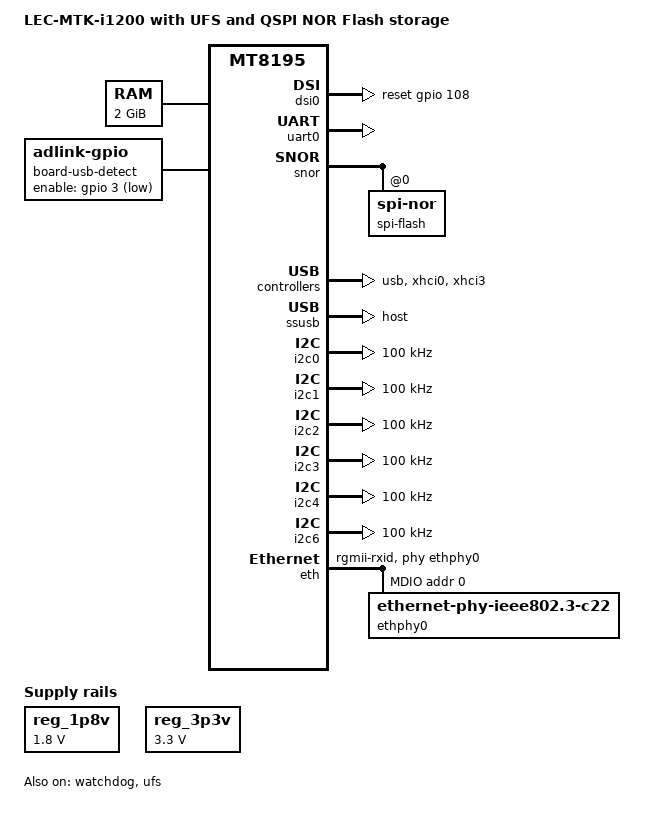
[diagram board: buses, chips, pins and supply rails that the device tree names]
// SPDX-License-Identifier: GPL-2.0 OR MIT
/*
 * Copyright (C) 2021 BayLibre SAS.
 * Author: Fabien Parent <fparent@baylibre.com>
 */

/dts-v1/;

#include <config.h>
#include "mt8195.dtsi"

/ {
	model = "LEC-MTK-i1200 with UFS and QSPI NOR Flash storage";
	compatible = "mediatek,genio-1200-evk-ufs-qspi", "mediatek,mt8195";

	memory@40000000 {
		device_type = "memory";
		reg = <0 0x40000000 0 0x80000000>;
	};

	firmware: firmware {
		optee {
			compatible = "linaro,optee-tz";
			method = "smc";
		};

		psci: psci {
			compatible = "arm,psci-1.0";
			method = "smc";
		};
	};

	reserved-memory {
		#address-cells = <2>;
		#size-cells = <2>;
		ranges;

		/* 2 MiB reserved for ARM Trusted Firmware (BL31) */
		bl31_secmon_reserved: secmon@54600000 {
			no-map;
			reg = <0 0x54600000 0x0 0x200000>;
		};

		/* 12 MiB reserved for OP-TEE (BL32)
		 * +-----------------------+ 0x43e0_0000
		 * |      SHMEM 2MiB       |
		 * +-----------------------+ 0x43c0_0000
		 * |        | TA_RAM  8MiB |
		 * + TZDRAM +--------------+ 0x4340_0000
		 * |        | TEE_RAM 2MiB |
		 * +-----------------------+ 0x4320_0000
		 */
		optee_reserved: optee@43200000 {
			no-map;
			reg = <0 0x43200000 0 0x00c00000>;
		};

		dsi_reserved: dsi@60000000 {
			reg = <0 0x60000000 0 0x02000000>;
			no-map;
		};
	};

	chosen {
		stdout-path = &uart0;
	};

	reg_1p8v: regulator-1p8v {
		compatible = "regulator-fixed";
		regulator-name = "fixed-1.8V";
		regulator-min-microvolt = <1800000>;
		regulator-max-microvolt = <1800000>;
		regulator-boot-on;
		regulator-always-on;
	};

	reg_3p3v: regulator-3p3v {
		compatible = "regulator-fixed";
		regulator-name = "fixed-3.3V";
		regulator-min-microvolt = <3300000>;
		regulator-max-microvolt = <3300000>;
		regulator-boot-on;
		regulator-always-on;
	};
	
        board-usb-detect {
                compatible = "adlink-gpio";
                enable-gpios = <&gpio 3 GPIO_ACTIVE_LOW>; //USB_P0_P2_MUX_SEL

        };


	dsi0: dsi0{
		compatible = "mediatek,mt8195-dsi";
		reg = <0 0x60000000 0 0x02000000>;	
	        pinctrl-names = "default";
	        pinctrl-0 = <&panel_pins_default>;
		reset-gpios = <&gpio 108 GPIO_ACTIVE_HIGH>;
	        dcdc-gpios = <&gpio 95 GPIO_ACTIVE_HIGH>;
	        enable-gpios = <&gpio 96 GPIO_ACTIVE_HIGH>;
		clocks = <&topckgen CLK_TOP_DISP_PWM0>,
			<&infracfg_ao CLK_INFRA_AO_DISP_PWM>;
		clock-names = "main", "mm";
		status = "okay";
	};

};

&pio {
	i2c0_pins: i2c0 {
		pinmux = <PINMUX_GPIO8__FUNC_SDA0>,
			 <PINMUX_GPIO9__FUNC_SCL0>;
		input-enable;
		bias-pull-up;
	};

	i2c1_pins: i2c1 {
		pinmux = <PINMUX_GPIO10__FUNC_SDA1>,
			 <PINMUX_GPIO11__FUNC_SCL1>;
		input-enable;
		bias-pull-up;
	};

	i2c2_pins: i2c2 {
		pinmux = <PINMUX_GPIO12__FUNC_SDA2>,
			 <PINMUX_GPIO13__FUNC_SCL2>;
		input-enable;
		bias-pull-up;
	};

	i2c3_pins: i2c3 {
		pinmux = <PINMUX_GPIO14__FUNC_SDA3>,
			 <PINMUX_GPIO15__FUNC_SCL3>;
		input-enable;
		bias-pull-up;
	};

	i2c4_pins: i2c4 {
		pinmux = <PINMUX_GPIO16__FUNC_SDA4>,
			 <PINMUX_GPIO17__FUNC_SCL4>;
		input-enable;
		bias-pull-up;
	};

	i2c6_pins: i2c6 {
		pinmux = <PINMUX_GPIO25__FUNC_SDA6>,
			 <PINMUX_GPIO26__FUNC_SCL6>;
		input-enable;
		bias-pull-up;
	};

	ethdefault: ethdefault {
		txdpins {
			pinmux = <PINMUX_GPIO77__FUNC_GBE_TXD3>,
				 <PINMUX_GPIO78__FUNC_GBE_TXD2>,
				 <PINMUX_GPIO79__FUNC_GBE_TXD1>,
				 <PINMUX_GPIO80__FUNC_GBE_TXD0>;
			drive-strength = <MTK_DRIVE_8mA>;
		};
		ccpins {
			pinmux = <PINMUX_GPIO85__FUNC_GBE_TXC>,
				 <PINMUX_GPIO88__FUNC_GBE_TXEN>,
				 <PINMUX_GPIO87__FUNC_GBE_RXDV>,
				 <PINMUX_GPIO86__FUNC_GBE_RXC>;
			drive-strength = <MTK_DRIVE_8mA>;
		};
		rxdpins {
			pinmux = <PINMUX_GPIO81__FUNC_GBE_RXD3>,
				 <PINMUX_GPIO82__FUNC_GBE_RXD2>,
				 <PINMUX_GPIO83__FUNC_GBE_RXD1>,
				 <PINMUX_GPIO84__FUNC_GBE_RXD0>;
		};
		mdiopins {
			pinmux = <PINMUX_GPIO89__FUNC_GBE_MDC>,
				 <PINMUX_GPIO90__FUNC_GBE_MDIO>;
			input-enable;
		};
		phyresetpin {
			pinmux = <PINMUX_GPIO93__FUNC_GPIO93>;
		};
		phy_intr_pin {
                        pinmux = <PINMUX_GPIO94__FUNC_GPIO94>;
                };

	};

	ethsleep: ethsleep {
		txdpins {
			pinmux = <PINMUX_GPIO77__FUNC_GPIO77>,
				 <PINMUX_GPIO78__FUNC_GPIO78>,
				 <PINMUX_GPIO79__FUNC_GPIO79>,
				 <PINMUX_GPIO80__FUNC_GPIO80>;
		};
		ccpins {
			pinmux = <PINMUX_GPIO85__FUNC_GPIO85>,
				 <PINMUX_GPIO88__FUNC_GPIO88>,
				 <PINMUX_GPIO87__FUNC_GPIO87>,
				 <PINMUX_GPIO86__FUNC_GPIO86>;
		};
		rxdpins {
			pinmux = <PINMUX_GPIO81__FUNC_GPIO81>,
				 <PINMUX_GPIO82__FUNC_GPIO82>,
				 <PINMUX_GPIO83__FUNC_GPIO83>,
				 <PINMUX_GPIO84__FUNC_GPIO84>;
		};
		mdiopins {
			pinmux = <PINMUX_GPIO89__FUNC_GPIO89>,
				 <PINMUX_GPIO90__FUNC_GPIO90>;
			input-disable;
			bias-disable;
		};
		phyresetpin {
			pinmux = <PINMUX_GPIO93__FUNC_GPIO93>;
			input-disable;
			bias-disable;
		};
	};

	panel_pins_default: panel-pins-default {
		panel-dcdc {
			pinmux = <PINMUX_GPIO95__FUNC_GPIO95>;
			output-low;
		};

		panel-en {
			pinmux = <PINMUX_GPIO96__FUNC_GPIO96>;
			output-low;
		};

		panel-rst {
			pinmux = <PINMUX_GPIO108__FUNC_GPIO108>;
			output-high;
		};

		pins-bl {
			pinmux = <PINMUX_GPIO97__FUNC_DISP_PWM0>;
		};
	};
 	   panel0_en_pin: panel-en-pin {
                 pins_cmd_dat {
                     pinmux = <PINMUX_GPIO96__FUNC_GPIO96>;
                 };
         };

		usb_p0_pins: usb_p0_pins {
                pin_iddig {
                        pinmux = <PINMUX_GPIO128__FUNC_IDDIG>;
                        input-enable;
                        bias-pull-up;
                };
                pins_cmd_dat {
                        pinmux = <PINMUX_GPIO63__FUNC_VBUSVALID>;
                        input-enable;
                        bias-pull-up;
                };
        };
	
	snor_pins: snor-pins {
		pins-ck-io {
			pinmux = <PINMUX_GPIO142__FUNC_SPINOR_IO0>,
				 <PINMUX_GPIO141__FUNC_SPINOR_CK>,
				 <PINMUX_GPIO143__FUNC_SPINOR_IO1>;
			drive-strength = <6>;
			bias-pull-down;
		};

		pins-cs {
			pinmux = <PINMUX_GPIO140__FUNC_SPINOR_CS>,
				<PINMUX_GPIO130__FUNC_SPINOR_IO2>,
				<PINMUX_GPIO131__FUNC_SPINOR_IO3>;
			drive-strength = <6>;
			bias-pull-up;
		};
	};	


};

&watchdog {
	status = "okay";
};

&uart0 {
	status = "okay";
};

&snor {
	pinctrl-names = "default";
	pinctrl-0 = <&snor_pins>;
	status = "okay";

	spi-flash@0{
		compatible = "jedec,spi-nor";
		reg = <0>;
		#spi-tx-bus-width = <1>;
		#spi-rx-bus-width = <4>;
		#u-boot,dm-pre-reloc;
	};
};

&ufs {
	status = "okay";
};

&usb {
	status = "okay";
};

&ssusb {
        pinctrl-0 = <&usb_p0_pins>;
        pinctrl-names = "default";
	mediatek,force-vbus;
	maximum-speed = "high-speed";
	dr_mode = "host";
	status = "okay";
};

&xhci0 {
	status = "okay";
};

&xhci1 {
	status = "disabled";
};

&xhci3 {
	status = "okay";
};

&i2c0 {
	clock-frequency = <100000>;
	pinctrl-0 = <&i2c0_pins>;
	pinctrl-names = "default";
	status = "okay";
};

&i2c1 {
	clock-frequency = <100000>;
	pinctrl-0 = <&i2c1_pins>;
	pinctrl-names = "default";
	status = "okay";
};

&i2c2 {
	clock-frequency = <100000>;
	pinctrl-0 = <&i2c2_pins>;
	pinctrl-names = "default";
	status = "okay";
};

&i2c3 {
	clock-frequency = <100000>;
	pinctrl-0 = <&i2c3_pins>;
	pinctrl-names = "default";
	status = "okay";
};

&i2c4 {
	clock-frequency = <100000>;
	pinctrl-0 = <&i2c4_pins>;
	pinctrl-names = "default";
	status = "okay";
};

&i2c6 {
	clock-frequency = <100000>;
	pinctrl-0 = <&i2c6_pins>;
	pinctrl-names = "default";
	status = "okay";
};

&eth {

        phy-mode ="rgmii-rxid";
        phy-handle = <&ethphy0>;
        mediatek,tx-delay-ps = <2030>;
        pinctrl-names = "default";
        pinctrl-0 = <&ethdefault>;
        status = "okay";

        mdio {
                #address-cells = <1>;
                #size-cells = <0>;
                ethphy0: ethphy0@0 {
                        compatible = "ethernet-phy-ieee802.3-c22";
                        reg = <0x0>;
                                ti,rx-internal-delay = <0x8>;
                                ti,tx-internal-delay = <0xb>;
                                ti,fifo-depth = <0x01>;
                                ti,clk-output-sel = <0xFFFFFFFF>;

                };
        };

};

